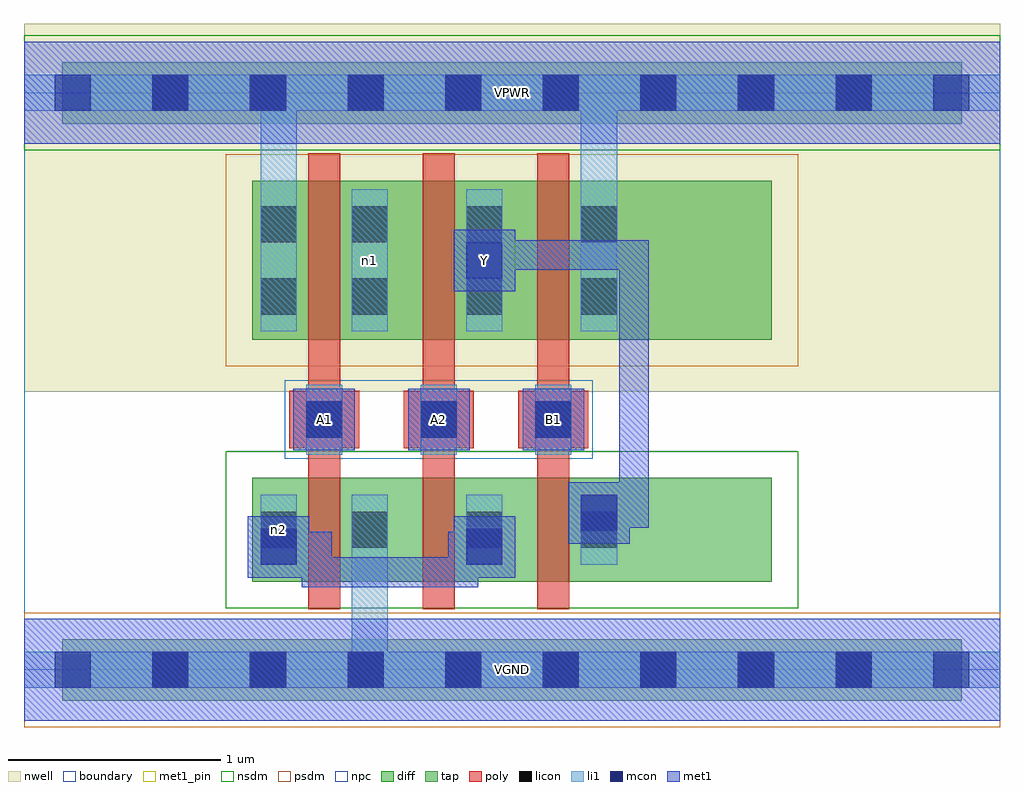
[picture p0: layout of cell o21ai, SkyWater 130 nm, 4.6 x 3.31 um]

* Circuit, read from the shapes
.subckt o21ai A1 A2 B1 VGND VPWR Y n1 n2
XM1 VGND A1 n2 VGND sky130_fd_pr__nfet_01v8 w=0.49 l=0.15
XM2 n2 A2 VGND VGND sky130_fd_pr__nfet_01v8 w=0.49 l=0.15
XM3 Y B1 n2 VGND sky130_fd_pr__nfet_01v8 w=0.49 l=0.15
XM4 n1 A1 VPWR VPWR sky130_fd_pr__pfet_01v8 w=0.75 l=0.15
XM5 Y A2 n1 VPWR sky130_fd_pr__pfet_01v8 w=0.75 l=0.15
XM6 VPWR B1 Y VPWR sky130_fd_pr__pfet_01v8 w=0.75 l=0.15
.ends

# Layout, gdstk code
import gdstk
lib = gdstk.Library(unit=1e-6, precision=1e-09)
def R(c, l, rs):  # rectangles x0, y0, x1, y1
    for r in rs: c.add(gdstk.rectangle(r[:2], r[2:], *l))
def A(c, l, x, y, w, h, nx, ny, dx, dy):  # array of equal rectangles
    R(c, l, [(x+i*dx, y+j*dy, x+i*dx+w, y+j*dy+h) for i in range(nx) for j in range(ny)])
nwell = (64, 20)
diff = (65, 20)
tap = (65, 44)
poly = (66, 20)
licon = (66, 44)
li1 = (67, 20)
mcon = (67, 44)
met1_pin = (68, 16)
met1 = (68, 20)
nsdm = (93, 44)
psdm = (94, 20)
npc = (95, 20)
boundary = (235, 4)

o21ai = lib.new_cell('o21ai')
R(o21ai, nwell, [(0,1.31,4.6,3.045)])
R(o21ai, diff, [(1.075,0.415,3.525,0.905), (1.075,1.555,3.525,2.305)])
R(o21ai, tap, [(0.18,-0.145,4.42,0.145), (0.18,2.575,4.42,2.865)])
A(o21ai, poly, 1.34, 0.285, 0.15, 2.15, 3, 1, 0.54, 0)
A(o21ai, poly, 1.25, 1.045, 0.33, 0.27, 3, 1, 0.54, 0)
A(o21ai, licon, 0.605, -0.085, 0.17, 0.17, 8, 2, 0.46, 2.72)
A(o21ai, licon, 1.545, 0.575, 0.17, 0.17, 3, 2, 0.54, 1.1)
A(o21ai, licon, 1.33, 1.095, 0.17, 0.17, 3, 1, 0.54, 0)
A(o21ai, licon, 1.545, 2.015, 0.17, 0.17, 3, 1, 0.54, 0)
R(o21ai, licon, [(1.115,0.575,1.285,0.745), (1.115,1.675,1.285,1.845), (1.115,2.015,1.285,2.185)])
A(o21ai, li1, 1.545, 0.495, 0.17, 0.33, 3, 1, 0.54, 0)
A(o21ai, li1, 1.33, 1.015, 0.17, 0.33, 3, 1, 0.54, 0)
A(o21ai, li1, 1.545, 1.595, 0.17, 0.67, 3, 1, 0.54, 0)
R(o21ai, li1, [(0,-0.085,4.6,0.085), (1.545,-0.085,1.715,0.825), (1.115,0.495,1.285,0.825), (1.115,1.595,1.285,2.265), (1.115,1.595,1.285,2.805), (2.625,1.595,2.795,2.805), (0,2.635,4.6,2.805)])
A(o21ai, mcon, 0.145, -0.085, 0.17, 0.17, 10, 2, 0.46, 2.72)
A(o21ai, mcon, 1.33, 1.095, 0.17, 0.17, 3, 1, 0.54, 0)
R(o21ai, mcon, [(1.115,0.495,1.285,0.665), (2.085,0.495,2.255,0.665), (2.625,0.655,2.795,0.825), (2.085,1.845,2.255,2.015)])
A(o21ai, met1_pin, 1.27, 1.035, 0.29, 0.29, 3, 1, 0.54, 0)
R(o21ai, met1_pin, [(0,-0.24,4.6,0.24), (2.025,1.785,2.315,2.075), (0,2.48,4.6,2.96)])
A(o21ai, met1, 1.27, 1.035, 0.29, 0.29, 3, 1, 0.54, 0)
R(o21ai, met1, [(0,-0.24,4.6,0.24), (1.31,0.39,1.45,0.65), (1.31,0.39,2.14,0.53), (2,0.39,2.14,0.65), (1.055,0.435,1.345,0.725), (2.025,0.435,2.315,0.725), (1.13,0.51,1.45,0.65), (2,0.51,2.24,0.65), (2.565,0.595,2.855,0.885), (2.64,0.67,2.945,0.81), (2.805,0.67,2.945,0.99), (2.805,0.85,2.945,2.025), (2.025,1.785,2.315,2.075), (2.115,1.885,2.945,2.025), (2.115,1.885,2.255,2.025), (0,2.48,4.6,2.96)])
R(o21ai, nsdm, [(0.95,0.29,3.65,1.03), (0,2.45,4.6,2.99)])
R(o21ai, psdm, [(0,-0.27,4.6,0.27), (0.95,1.43,3.65,2.43)])
R(o21ai, npc, [(1.23,0.995,2.68,1.365)])
R(o21ai, boundary, [(0,0,4.6,2.72)])
o21ai.add(gdstk.Label('n2', (1.2,0.66), layer=67, texttype=5))
o21ai.add(gdstk.Label('n1', (1.63,1.93), layer=67, texttype=5))
o21ai.add(gdstk.Label('A1', (1.415,1.18), layer=68, texttype=5))
o21ai.add(gdstk.Label('A2', (1.955,1.18), layer=68, texttype=5))
o21ai.add(gdstk.Label('B1', (2.495,1.18), layer=68, texttype=5))
o21ai.add(gdstk.Label('Y', (2.17,1.93), layer=68, texttype=5))
o21ai.add(gdstk.Label('VPWR', (2.3,2.72), layer=68, texttype=5))
o21ai.add(gdstk.Label('VGND', (2.3,0), layer=68, texttype=5))
o21ai.add(gdstk.Label('A1', (1.415,1.18), layer=68, texttype=16))
o21ai.add(gdstk.Label('A2', (1.955,1.18), layer=68, texttype=16))
o21ai.add(gdstk.Label('B1', (2.495,1.18), layer=68, texttype=16))
o21ai.add(gdstk.Label('Y', (2.17,1.93), layer=68, texttype=16))
o21ai.add(gdstk.Label('VPWR', (2.3,2.72), layer=68, texttype=16))
o21ai.add(gdstk.Label('VGND', (2.3,0), layer=68, texttype=16))

lib.write_gds('o21ai.gds')
